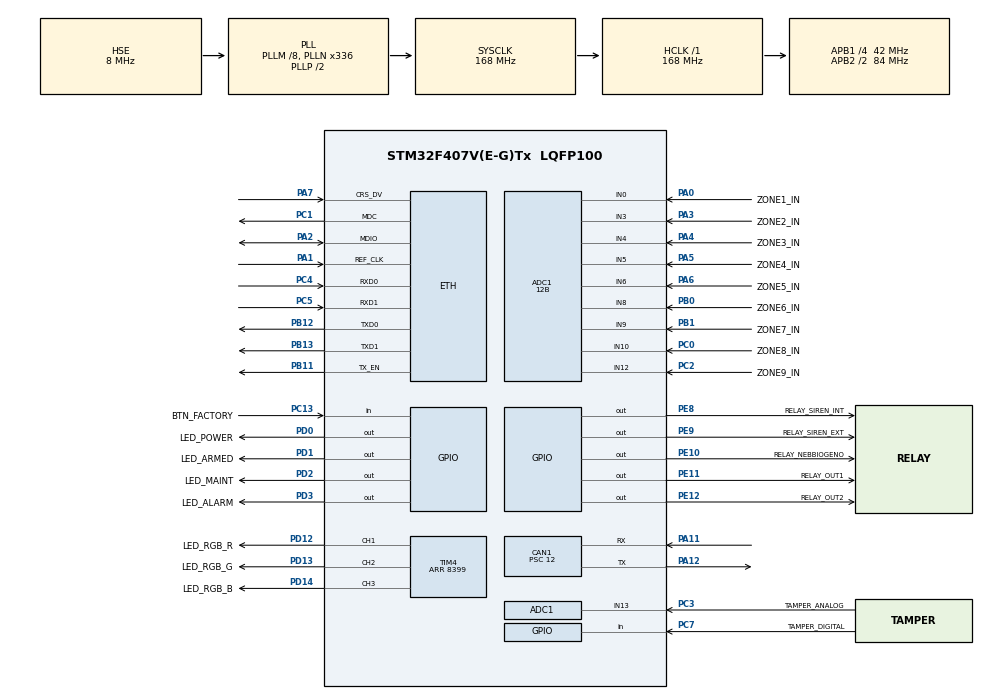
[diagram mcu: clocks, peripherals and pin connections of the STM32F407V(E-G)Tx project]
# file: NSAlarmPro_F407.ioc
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ADC1.Channel-10\#ChannelRegularConversion=ADC_CHANNEL_12
ADC1.Channel-11\#ChannelRegularConversion=ADC_CHANNEL_13
ADC1.Channel-12\#ChannelRegularConversion=ADC_CHANNEL_VBAT
ADC1.Channel-13\#ChannelRegularConversion=ADC_CHANNEL_TEMPSENSOR
ADC1.Channel-14\#ChannelRegularConversion=ADC_CHANNEL_VREFINT
ADC1.Channel-2\#ChannelRegularConversion=ADC_CHANNEL_0
ADC1.Channel-3\#ChannelRegularConversion=ADC_CHANNEL_3
ADC1.Channel-4\#ChannelRegularConversion=ADC_CHANNEL_4
ADC1.Channel-5\#ChannelRegularConversion=ADC_CHANNEL_5
ADC1.Channel-6\#ChannelRegularConversion=ADC_CHANNEL_6
ADC1.Channel-7\#ChannelRegularConversion=ADC_CHANNEL_8
ADC1.Channel-8\#ChannelRegularConversion=ADC_CHANNEL_9
ADC1.Channel-9\#ChannelRegularConversion=ADC_CHANNEL_10
ADC1.ClockPrescaler=ADC_CLOCK_SYNC_PCLK_DIV4
ADC1.ContinuousConvMode=ENABLE
ADC1.DMAContinuousRequests=ENABLE
ADC1.NbrOfConversion=13
ADC1.NbrOfConversionFlag=1
ADC1.Rank-10\#ChannelRegularConversion=9
ADC1.Rank-11\#ChannelRegularConversion=10
ADC1.Rank-12\#ChannelRegularConversion=11
ADC1.Rank-13\#ChannelRegularConversion=12
ADC1.Rank-14\#ChannelRegularConversion=13
ADC1.Rank-2\#ChannelRegularConversion=1
ADC1.Rank-3\#ChannelRegularConversion=2
ADC1.Rank-4\#ChannelRegularConversion=3
ADC1.Rank-5\#ChannelRegularConversion=4
ADC1.Rank-6\#ChannelRegularConversion=5
ADC1.Rank-7\#ChannelRegularConversion=6
ADC1.Rank-8\#ChannelRegularConversion=7
ADC1.Rank-9\#ChannelRegularConversion=8
ADC1.Resolution=ADC_RESOLUTION_12B
ADC1.SamplingTime-10\#ChannelRegularConversion=ADC_SAMPLETIME_144CYCLES
ADC1.SamplingTime-11\#ChannelRegularConversion=ADC_SAMPLETIME_144CYCLES
ADC1.SamplingTime-12\#ChannelRegularConversion=ADC_SAMPLETIME_480CYCLES
ADC1.SamplingTime-13\#ChannelRegularConversion=ADC_SAMPLETIME_480CYCLES
ADC1.SamplingTime-14\#ChannelRegularConversion=ADC_SAMPLETIME_480CYCLES
ADC1.SamplingTime-2\#ChannelRegularConversion=ADC_SAMPLETIME_144CYCLES
ADC1.SamplingTime-3\#ChannelRegularConversion=ADC_SAMPLETIME_144CYCLES
ADC1.SamplingTime-4\#ChannelRegularConversion=ADC_SAMPLETIME_144CYCLES
ADC1.SamplingTime-5\#ChannelRegularConversion=ADC_SAMPLETIME_144CYCLES
ADC1.SamplingTime-6\#ChannelRegularConversion=ADC_SAMPLETIME_144CYCLES
ADC1.SamplingTime-7\#ChannelRegularConversion=ADC_SAMPLETIME_144CYCLES
ADC1.SamplingTime-8\#ChannelRegularConversion=ADC_SAMPLETIME_144CYCLES
ADC1.SamplingTime-9\#ChannelRegularConversion=ADC_SAMPLETIME_144CYCLES
ADC1.ScanConvMode=ENABLE
ADC1.master=1
CAN1.BS1=CAN_BS1_11TQ
CAN1.BS2=CAN_BS2_2TQ
CAN1.CalculateBaudRate=250000
CAN1.CalculateTimeBit=4000
CAN1.CalculateTimeQuantum=285.7142857142857
CAN1.NART=ENABLE
CAN1.Prescaler=12
Dma.ADC1.0.Direction=DMA_PERIPH_TO_MEMORY
Dma.ADC1.0.FIFOMode=DMA_FIFOMODE_DISABLE
Dma.ADC1.0.Instance=DMA2_Stream0
Dma.ADC1.0.MemDataAlignment=DMA_MDATAALIGN_HALFWORD
Dma.ADC1.0.MemInc=DMA_MINC_ENABLE
Dma.ADC1.0.Mode=DMA_CIRCULAR
Dma.ADC1.0.PeriphDataAlignment=DMA_PDATAALIGN_HALFWORD
Dma.ADC1.0.PeriphInc=DMA_PINC_DISABLE
Dma.ADC1.0.Priority=DMA_PRIORITY_HIGH
Dma.Request0=ADC1
ETH.MediaInterface=HAL_ETH_RMII_MODE
FREERTOS.HEAP_NUMBER=4
FREERTOS.Tasks01=defaultTask,0,128,StartDefaultTask,Default,NULL,Dynamic,NULL,NULL
FREERTOS.configTOTAL_HEAP_SIZE=98304
FREERTOS.configUSE_NEWLIB_REENTRANT=1
IWDG.Prescaler=IWDG_PRESCALER_64
IWDG.Reload=1999
LWIP.BSP.number=1
LWIP.Version=v2.1.2_Cube
LWIP0.BSP.STBoard=false
LWIP0.BSP.api=BSP_COMPONENT_DRIVER
LWIP0.BSP.component=LAN8742
LWIP0.BSP.instance=LAN8742
LWIP0.BSP.name=Driver_PHY
LWIP0.BSP.semaphore=S_LAN8742
LWIP0.BSP.solution=LAN8742
MBEDTLS.MBEDTLS_RNG_IP=HW_RNG
Mcu.Family=STM32F4
Mcu.Name=STM32F407V(E-G)Tx
Mcu.Package=LQFP100
NVIC.CAN1_RX0_IRQn=true\:5\:0\:false\:false\:true\:true\:true\:true\:true
NVIC.DMA2_Stream0_IRQn=true\:5\:0\:false\:false\:true\:true\:false\:true\:true
NVIC.ETH_IRQn=true\:5\:0\:false\:false\:true\:true\:false\:true\:true
NVIC.PriorityGroup=NVIC_PRIORITYGROUP_4
NVIC.TIM6_DAC_IRQn=true\:15\:0\:false\:false\:true\:false\:false\:true\:true
NVIC.TimeBase=TIM6_DAC_IRQn
NVIC.TimeBaseIP=TIM6
PA0-WKUP.GPIO_Label=ZONE1_IN
PA0-WKUP.Signal=SharedAnalog_PA0
PA1.Mode=RMII
PA1.Signal=ETH_REF_CLK
PA11.Mode=CAN_Activate
PA11.Signal=CAN1_RX
PA12.Mode=CAN_Activate
PA12.Signal=CAN1_TX
PA2.Mode=RMII
PA2.Signal=ETH_MDIO
PA3.GPIO_Label=ZONE2_IN
PA3.Signal=SharedAnalog_PA3
PA4.GPIO_Label=ZONE3_IN
PA4.Signal=SharedAnalog_PA4
PA5.GPIO_Label=ZONE4_IN
PA5.Signal=SharedAnalog_PA5
PA6.GPIO_Label=ZONE5_IN
PA6.Signal=SharedAnalog_PA6
PA7.Mode=RMII
PA7.Signal=ETH_CRS_DV
PB0.GPIO_Label=ZONE6_IN
PB0.Signal=SharedAnalog_PB0
PB1.GPIO_Label=ZONE7_IN
PB1.Signal=SharedAnalog_PB1
PB11.Mode=RMII
PB11.Signal=ETH_TX_EN
PB12.Mode=RMII
PB12.Signal=ETH_TXD0
PB13.Mode=RMII
PB13.Signal=ETH_TXD1
PC0.GPIO_Label=ZONE8_IN
PC0.Signal=SharedAnalog_PC0
PC1.Mode=RMII
PC1.Signal=ETH_MDC
PC13-ANTI_TAMP.GPIO_Label=BTN_FACTORY
PC13-ANTI_TAMP.GPIO_PuPd=GPIO_PULLUP
PC13-ANTI_TAMP.Signal=GPIO_Input
PC2.GPIO_Label=ZONE9_IN
PC2.Signal=SharedAnalog_PC2
PC3.GPIO_Label=TAMPER_ANALOG
PC3.Signal=SharedAnalog_PC3
PC4.Mode=RMII
PC4.Signal=ETH_RXD0
PC5.Mode=RMII
PC5.Signal=ETH_RXD1
PC7.GPIO_Label=TAMPER_DIGITAL
PC7.GPIO_PuPd=GPIO_PULLUP
PC7.Signal=GPIO_Input
PD0.GPIO_Label=LED_POWER
PD0.Signal=GPIO_Output
PD1.GPIO_Label=LED_ARMED
PD1.Signal=GPIO_Output
PD12.GPIO_Label=LED_RGB_R
PD12.Signal=S_TIM4_CH1
PD13.GPIO_Label=LED_RGB_G
PD13.Signal=S_TIM4_CH2
PD14.GPIO_Label=LED_RGB_B
PD14.Signal=S_TIM4_CH3
PD2.GPIO_Label=LED_MAINT
PD2.Signal=GPIO_Output
PD3.GPIO_Label=LED_ALARM
PD3.Signal=GPIO_Output
PE10.GPIO_Label=RELAY_NEBBIOGENO
PE10.Signal=GPIO_Output
PE11.GPIO_Label=RELAY_OUT1
PE11.Signal=GPIO_Output
PE12.GPIO_Label=RELAY_OUT2
PE12.Signal=GPIO_Output
PE8.GPIO_Label=RELAY_SIREN_INT
PE8.Signal=GPIO_Output
PE9.GPIO_Label=RELAY_SIREN_EXT
PE9.Signal=GPIO_Output
PH0-OSC_IN.Mode=HSE-External-Oscillator
PH0-OSC_IN.Signal=RCC_OSC_IN
PH1-OSC_OUT.Mode=HSE-External-Oscillator
PH1-OSC_OUT.Signal=RCC_OSC_OUT
ProjectManager.HeapSize=0x200
ProjectManager.StackSize=0x400
ProjectManager.TargetToolchain=STM32CubeIDE
RCC.48MHZClocksFreq_Value=48000000
RCC.AHBFreq_Value=168000000
RCC.APB1CLKDivider=RCC_HCLK_DIV4
RCC.APB1Freq_Value=42000000
RCC.APB1TimFreq_Value=84000000
RCC.APB2CLKDivider=RCC_HCLK_DIV2
RCC.APB2Freq_Value=84000000
RCC.APB2TimFreq_Value=168000000
RCC.CortexFreq_Value=168000000
RCC.HCLKFreq_Value=168000000
RCC.HSE_VALUE=8000000
RCC.HSI_VALUE=16000000
RCC.LSE_VALUE=32768
RCC.PLLM=8
RCC.PLLN=336
RCC.PLLQ=7
RCC.PLLSourceVirtual=RCC_PLLSOURCE_HSE
RCC.SYSCLKFreq_VALUE=168000000
RCC.SYSCLKSource=RCC_SYSCLKSOURCE_PLLCLK
RCC.VCOOutputFreq_Value=336000000
SH.S_TIM4_CH1.0=TIM4_CH1,PWM Generation1 CH1
SH.S_TIM4_CH2.0=TIM4_CH2,PWM Generation2 CH2
SH.S_TIM4_CH3.0=TIM4_CH3,PWM Generation3 CH3
SH.SharedAnalog_PA0.0=GPIO_Analog
SH.SharedAnalog_PA0.1=ADC3_IN0
SH.SharedAnalog_PA0.2=ADC1_IN0,IN0
SH.SharedAnalog_PA3.0=GPIO_Analog
SH.SharedAnalog_PA3.1=ADC3_IN3
SH.SharedAnalog_PA3.2=ADC1_IN3,IN3
SH.SharedAnalog_PA4.0=GPIO_Analog
SH.SharedAnalog_PA4.1=ADC1_IN4,IN4
SH.SharedAnalog_PA5.0=GPIO_Analog
SH.SharedAnalog_PA5.1=ADC1_IN5,IN5
SH.SharedAnalog_PA6.0=GPIO_Analog
SH.SharedAnalog_PA6.1=ADC1_IN6,IN6
SH.SharedAnalog_PB0.0=GPIO_Analog
SH.SharedAnalog_PB0.1=ADC1_IN8,IN8
SH.SharedAnalog_PB1.0=GPIO_Analog
SH.SharedAnalog_PB1.1=ADC1_IN9,IN9
SH.SharedAnalog_PC0.0=GPIO_Analog
SH.SharedAnalog_PC0.1=ADC3_IN10
SH.SharedAnalog_PC0.2=ADC1_IN10,IN10
SH.SharedAnalog_PC2.0=GPIO_Analog
SH.SharedAnalog_PC2.1=ADC3_IN12
SH.SharedAnalog_PC2.2=ADC1_IN12,IN12
SH.SharedAnalog_PC3.0=GPIO_Analog
SH.SharedAnalog_PC3.1=ADC3_IN13
SH.SharedAnalog_PC3.2=ADC1_IN13,IN13
TIM4.Channel-PWM\ Generation1\ CH1=TIM_CHANNEL_1
TIM4.Channel-PWM\ Generation2\ CH2=TIM_CHANNEL_2
TIM4.Channel-PWM\ Generation3\ CH3=TIM_CHANNEL_3
TIM4.Period=8399
VP_ADC1_TempSens_Input.Mode=IN-TempSens
VP_ADC1_Vbat_Input.Mode=IN-Vbat
VP_ADC1_Vref_Input.Mode=IN-Vrefint
VP_FREERTOS_VS_CMSIS_V1.Mode=CMSIS_V1
VP_IWDG_VS_IWDG.Mode=IWDG_Activate
VP_LWIP_VS_Enabled.Mode=Enabled
VP_MBEDTLS_VS_MBEDTLS.Mode=Enabled
VP_RNG_VS_RNG.Mode=RNG_Activate
VP_SYS_VS_tim6.Mode=TIM6
board=custom

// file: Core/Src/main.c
/* USER CODE BEGIN Header */
/**
  * @file    main.c
  * @brief   Entry point for NSAlarmPro central unit.
  */
/* USER CODE END Header */
#include "main.h"
#include "cmsis_os.h"
#include "mbedtls.h"

ADC_HandleTypeDef hadc1;
DMA_HandleTypeDef hdma_adc1;

CAN_HandleTypeDef hcan1;

IWDG_HandleTypeDef hiwdg;

RNG_HandleTypeDef hrng;

TIM_HandleTypeDef htim4;

osThreadId defaultTaskHandle;
/* USER CODE BEGIN PV */
static void NSAP_PreOSInit(void);
static void NSAP_WatchdogInit(void);
IWDG_HandleTypeDef hiwdg;
void nsap_watchdog_kick(void);
/* USER CODE END PV */

void SystemClock_Config(void);
static void MX_GPIO_Init(void);
static void MX_DMA_Init(void);
static void MX_CAN1_Init(void);
static void MX_RNG_Init(void);
static void MX_ADC1_Init(void);
static void MX_IWDG_Init(void);
static void MX_TIM4_Init(void);
void StartDefaultTask(void const * argument);

int main(void)
{

  /* USER CODE BEGIN 1 */
  HAL_Init();
  SystemClock_Config();
  MX_GPIO_Init();
  MX_DMA_Init();
  MX_ADC1_Init();
  MX_CAN1_Init();
  MX_ETH_Init();
  MX_TIM4_Init();
  NSAP_WatchdogInit();
  NSAP_PreOSInit();
  MX_FREERTOS_Init();
  osKernelStart();
  while (1)
  {
  }
  /* USER CODE END 1 */

  /* MCU Configuration--------------------------------------------------------*/

  /* Reset of all peripherals, Initializes the Flash interface and the Systick. */
  HAL_Init();

  /* Configure the system clock */
  SystemClock_Config();

  /* Initialize all configured peripherals */
  MX_GPIO_Init();
  MX_DMA_Init();
  MX_CAN1_Init();
  MX_RNG_Init();
  MX_ADC1_Init();
  MX_IWDG_Init();
  MX_TIM4_Init();
  /* Call PreOsInit function */
  MX_MBEDTLS_Init();

  /* Create the thread(s) */
  /* definition and creation of defaultTask */
  osThreadDef(defaultTask, StartDefaultTask, osPriorityNormal, 0, 128);
  defaultTaskHandle = osThreadCreate(osThread(defaultTask), NULL);

  /* Start scheduler */
  osKernelStart();

  /* We should never get here as control is now taken by the scheduler */

  /* Infinite loop */
  while (1)
  {

  }
}

void SystemClock_Config(void)
{
  RCC_OscInitTypeDef RCC_OscInitStruct = {0};
  RCC_ClkInitTypeDef RCC_ClkInitStruct = {0};

  /** Configure the main internal regulator output voltage
  */
  __HAL_RCC_PWR_CLK_ENABLE();
  __HAL_PWR_VOLTAGESCALING_CONFIG(PWR_REGULATOR_VOLTAGE_SCALE1);

  /** Initializes the RCC Oscillators according to the specified parameters
  * in the RCC_OscInitTypeDef structure.
  */
  RCC_OscInitStruct.OscillatorType = RCC_OSCILLATORTYPE_LSI|RCC_OSCILLATORTYPE_HSE;
  RCC_OscInitStruct.HSEState = RCC_HSE_ON;
  RCC_OscInitStruct.LSIState = RCC_LSI_ON;
  RCC_OscInitStruct.PLL.PLLState = RCC_PLL_ON;
  RCC_OscInitStruct.PLL.PLLSource = RCC_PLLSOURCE_HSE;
  RCC_OscInitStruct.PLL.PLLM = 8;
  RCC_OscInitStruct.PLL.PLLN = 336;
  RCC_OscInitStruct.PLL.PLLP = RCC_PLLP_DIV2;
  RCC_OscInitStruct.PLL.PLLQ = 7;
  if (HAL_RCC_OscConfig(&RCC_OscInitStruct) != HAL_OK)
  {
    Error_Handler();
  }

  /** Initializes the CPU, AHB and APB buses clocks
  */
  RCC_ClkInitStruct.ClockType = RCC_CLOCKTYPE_HCLK|RCC_CLOCKTYPE_SYSCLK
                              |RCC_CLOCKTYPE_PCLK1|RCC_CLOCKTYPE_PCLK2;
  RCC_ClkInitStruct.SYSCLKSource = RCC_SYSCLKSOURCE_PLLCLK;
  RCC_ClkInitStruct.AHBCLKDivider = RCC_SYSCLK_DIV1;
  RCC_ClkInitStruct.APB1CLKDivider = RCC_HCLK_DIV4;
  RCC_ClkInitStruct.APB2CLKDivider = RCC_HCLK_DIV2;

  if (HAL_RCC_ClockConfig(&RCC_ClkInitStruct, FLASH_LATENCY_5) != HAL_OK)
  {
    Error_Handler();
  }
}

static void MX_ADC1_Init(void)
{

  ADC_ChannelConfTypeDef sConfig = {0};

  /** Configure the global features of the ADC (Clock, Resolution, Data Alignment and number of conversion)
  */
  hadc1.Instance = ADC1;
  hadc1.Init.ClockPrescaler = ADC_CLOCK_SYNC_PCLK_DIV4;
  hadc1.Init.Resolution = ADC_RESOLUTION_12B;
  hadc1.Init.ScanConvMode = ENABLE;
  hadc1.Init.ContinuousConvMode = ENABLE;
  hadc1.Init.DiscontinuousConvMode = DISABLE;
  hadc1.Init.ExternalTrigConvEdge = ADC_EXTERNALTRIGCONVEDGE_NONE;
  hadc1.Init.ExternalTrigConv = ADC_SOFTWARE_START;
  hadc1.Init.DataAlign = ADC_DATAALIGN_RIGHT;
  hadc1.Init.NbrOfConversion = 13;
  hadc1.Init.DMAContinuousRequests = ENABLE;
  hadc1.Init.EOCSelection = ADC_EOC_SINGLE_CONV;
  if (HAL_ADC_Init(&hadc1) != HAL_OK)
  {
    Error_Handler();
  }

  /** Configure for the selected ADC regular channel its corresponding rank in the sequencer and its sample time.
  */
  sConfig.Channel = ADC_CHANNEL_0;
  sConfig.Rank = 1;
  sConfig.SamplingTime = ADC_SAMPLETIME_144CYCLES;
  if (HAL_ADC_ConfigChannel(&hadc1, &sConfig) != HAL_OK)
  {
    Error_Handler();
  }

  /** Configure for the selected ADC regular channel its corresponding rank in the sequencer and its sample time.
  */
  sConfig.Channel = ADC_CHANNEL_3;
  sConfig.Rank = 2;
  if (HAL_ADC_ConfigChannel(&hadc1, &sConfig) != HAL_OK)
  {
    Error_Handler();
  }

  /** Configure for the selected ADC regular channel its corresponding rank in the sequencer and its sample time.
  */
  sConfig.Channel = ADC_CHANNEL_4;
  sConfig.Rank = 3;
  if (HAL_ADC_ConfigChannel(&hadc1, &sConfig) != HAL_OK)
  {
    Error_Handler();
  }

  /** Configure for the selected ADC regular channel its corresponding rank in the sequencer and its sample time.
  */
  sConfig.Channel = ADC_CHANNEL_5;
  sConfig.Rank = 4;
  if (HAL_ADC_ConfigChannel(&hadc1, &sConfig) != HAL_OK)
  {
    Error_Handler();
  }

  /** Configure for the selected ADC regular channel its corresponding rank in the sequencer and its sample time.
  */
  sConfig.Channel = ADC_CHANNEL_6;
  sConfig.Rank = 5;
  if (HAL_ADC_ConfigChannel(&hadc1, &sConfig) != HAL_OK)
  {
    Error_Handler();
  }

  /** Configure for the selected ADC regular channel its corresponding rank in the sequencer and its sample time.
  */
  sConfig.Channel = ADC_CHANNEL_8;
  sConfig.Rank = 6;
  if (HAL_ADC_ConfigChannel(&hadc1, &sConfig) != HAL_OK)
  {
    Error_Handler();
  }

  /** Configure for the selected ADC regular channel its corresponding rank in the sequencer and its sample time.
  */
  sConfig.Channel = ADC_CHANNEL_9;
  sConfig.Rank = 7;
  if (HAL_ADC_ConfigChannel(&hadc1, &sConfig) != HAL_OK)
  {
    Error_Handler();
  }

  /** Configure for the selected ADC regular channel its corresponding rank in the sequencer and its sample time.
  */
  sConfig.Channel = ADC_CHANNEL_10;
  sConfig.Rank = 8;
  if (HAL_ADC_ConfigChannel(&hadc1, &sConfig) != HAL_OK)
  {
    Error_Handler();
  }

  /** Configure for the selected ADC regular channel its corresponding rank in the sequencer and its sample time.
  */
  sConfig.Channel = ADC_CHANNEL_12;
  sConfig.Rank = 9;
  if (HAL_ADC_ConfigChannel(&hadc1, &sConfig) != HAL_OK)
  {
    Error_Handler();
  }

  /** Configure for the selected ADC regular channel its corresponding rank in the sequencer and its sample time.
  */
  sConfig.Channel = ADC_CHANNEL_13;
  sConfig.Rank = 10;
  if (HAL_ADC_ConfigChannel(&hadc1, &sConfig) != HAL_OK)
  {
    Error_Handler();
  }

  /** Configure for the selected ADC regular channel its corresponding rank in the sequencer and its sample time.
  */
  sConfig.Channel = ADC_CHANNEL_VBAT;
  sConfig.Rank = 11;
  sConfig.SamplingTime = ADC_SAMPLETIME_480CYCLES;
  if (HAL_ADC_ConfigChannel(&hadc1, &sConfig) != HAL_OK)
  {
    Error_Handler();
  }

  /** Configure for the selected ADC regular channel its corresponding rank in the sequencer and its sample time.
  */
  sConfig.Channel = ADC_CHANNEL_TEMPSENSOR;
  sConfig.Rank = 12;
  if (HAL_ADC_ConfigChannel(&hadc1, &sConfig) != HAL_OK)
  {
    Error_Handler();
  }

  /** Configure for the selected ADC regular channel its corresponding rank in the sequencer and its sample time.
  */
  sConfig.Channel = ADC_CHANNEL_VREFINT;
  sConfig.Rank = 13;
  if (HAL_ADC_ConfigChannel(&hadc1, &sConfig) != HAL_OK)
  {
    Error_Handler();
  }

}

static void MX_CAN1_Init(void)
{

  hcan1.Instance = CAN1;
  hcan1.Init.Prescaler = 12;
  hcan1.Init.Mode = CAN_MODE_NORMAL;
  hcan1.Init.SyncJumpWidth = CAN_SJW_1TQ;
  hcan1.Init.TimeSeg1 = CAN_BS1_11TQ;
  hcan1.Init.TimeSeg2 = CAN_BS2_2TQ;
  hcan1.Init.TimeTriggeredMode = DISABLE;
  hcan1.Init.AutoBusOff = DISABLE;
  hcan1.Init.AutoWakeUp = DISABLE;
  hcan1.Init.AutoRetransmission = ENABLE;
  hcan1.Init.ReceiveFifoLocked = DISABLE;
  hcan1.Init.TransmitFifoPriority = DISABLE;
  if (HAL_CAN_Init(&hcan1) != HAL_OK)
  {
    Error_Handler();
  }

}

static void MX_IWDG_Init(void)
{

  hiwdg.Instance = IWDG;
  hiwdg.Init.Prescaler = IWDG_PRESCALER_64;
  hiwdg.Init.Reload = 1999;
  if (HAL_IWDG_Init(&hiwdg) != HAL_OK)
  {
    Error_Handler();
  }

}

static void MX_RNG_Init(void)
{

  hrng.Instance = RNG;
  if (HAL_RNG_Init(&hrng) != HAL_OK)
  {
    Error_Handler();
  }

}

static void MX_TIM4_Init(void)
{

  TIM_MasterConfigTypeDef sMasterConfig = {0};
  TIM_OC_InitTypeDef sConfigOC = {0};

  htim4.Instance = TIM4;
  htim4.Init.Prescaler = 0;
  htim4.Init.CounterMode = TIM_COUNTERMODE_UP;
  htim4.Init.Period = 8399;
  htim4.Init.ClockDivision = TIM_CLOCKDIVISION_DIV1;
  htim4.Init.AutoReloadPreload = TIM_AUTORELOAD_PRELOAD_DISABLE;
  if (HAL_TIM_PWM_Init(&htim4) != HAL_OK)
  {
    Error_Handler();
  }
  sMasterConfig.MasterOutputTrigger = TIM_TRGO_RESET;
  sMasterConfig.MasterSlaveMode = TIM_MASTERSLAVEMODE_DISABLE;
  if (HAL_TIMEx_MasterConfigSynchronization(&htim4, &sMasterConfig) != HAL_OK)
  {
    Error_Handler();
  }
  sConfigOC.OCMode = TIM_OCMODE_PWM1;
  sConfigOC.Pulse = 0;
  sConfigOC.OCPolarity = TIM_OCPOLARITY_HIGH;
  sConfigOC.OCFastMode = TIM_OCFAST_DISABLE;
  if (HAL_TIM_PWM_ConfigChannel(&htim4, &sConfigOC, TIM_CHANNEL_1) != HAL_OK)
  {
    Error_Handler();
  }
  if (HAL_TIM_PWM_ConfigChannel(&htim4, &sConfigOC, TIM_CHANNEL_2) != HAL_OK)
  {
    Error_Handler();
  }
  if (HAL_TIM_PWM_ConfigChannel(&htim4, &sConfigOC, TIM_CHANNEL_3) != HAL_OK)
  {
    Error_Handler();
  }
  HAL_TIM_MspPostInit(&htim4);

}

static void MX_DMA_Init(void)
{

  /* DMA controller clock enable */
  __HAL_RCC_DMA2_CLK_ENABLE();

  /* DMA interrupt init */
  /* DMA2_Stream0_IRQn interrupt configuration */
  HAL_NVIC_SetPriority(DMA2_Stream0_IRQn, 5, 0);
  HAL_NVIC_EnableIRQ(DMA2_Stream0_IRQn);

}

static void MX_GPIO_Init(void)
{
  GPIO_InitTypeDef GPIO_InitStruct = {0};

  /* GPIO Ports Clock Enable */
  __HAL_RCC_GPIOC_CLK_ENABLE();
  __HAL_RCC_GPIOH_CLK_ENABLE();
  __HAL_RCC_GPIOA_CLK_ENABLE();
  __HAL_RCC_GPIOB_CLK_ENABLE();
  __HAL_RCC_GPIOE_CLK_ENABLE();
  __HAL_RCC_GPIOD_CLK_ENABLE();

  /*Configure GPIO pin Output Level */
  HAL_GPIO_WritePin(GPIOE, RELAY_SIREN_INT_Pin|RELAY_SIREN_EXT_Pin|RELAY_NEBBIOGENO_Pin|RELAY_OUT1_Pin
                          |RELAY_OUT2_Pin, GPIO_PIN_RESET);

  /*Configure GPIO pin Output Level */
  HAL_GPIO_WritePin(GPIOD, LED_POWER_Pin|LED_ARMED_Pin|LED_MAINT_Pin|LED_ALARM_Pin, GPIO_PIN_RESET);

  /*Configure GPIO pins : BTN_FACTORY_Pin TAMPER_DIGITAL_Pin */
  GPIO_InitStruct.Pin = BTN_FACTORY_Pin|TAMPER_DIGITAL_Pin;
  GPIO_InitStruct.Mode = GPIO_MODE_INPUT;
  GPIO_InitStruct.Pull = GPIO_PULLUP;
  HAL_GPIO_Init(GPIOC, &GPIO_InitStruct);

  /*Configure GPIO pins : ZONE8_IN_Pin ZONE9_IN_Pin TAMPER_ANALOG_Pin */
  GPIO_InitStruct.Pin = ZONE8_IN_Pin|ZONE9_IN_Pin|TAMPER_ANALOG_Pin;
  GPIO_InitStruct.Mode = GPIO_MODE_ANALOG;
  GPIO_InitStruct.Pull = GPIO_NOPULL;
  HAL_GPIO_Init(GPIOC, &GPIO_InitStruct);

  /*Configure GPIO pins : ZONE1_IN_Pin ZONE2_IN_Pin */
  GPIO_InitStruct.Pin = ZONE1_IN_Pin|ZONE2_IN_Pin;
  GPIO_InitStruct.Mode = GPIO_MODE_ANALOG;
  GPIO_InitStruct.Pull = GPIO_NOPULL;
  HAL_GPIO_Init(GPIOA, &GPIO_InitStruct);

  /*Configure GPIO pins : RELAY_SIREN_INT_Pin RELAY_SIREN_EXT_Pin RELAY_NEBBIOGENO_Pin RELAY_OUT1_Pin
                           RELAY_OUT2_Pin */
  GPIO_InitStruct.Pin = RELAY_SIREN_INT_Pin|RELAY_SIREN_EXT_Pin|RELAY_NEBBIOGENO_Pin|RELAY_OUT1_Pin
                          |RELAY_OUT2_Pin;
  GPIO_InitStruct.Mode = GPIO_MODE_OUTPUT_PP;
  GPIO_InitStruct.Pull = GPIO_NOPULL;
  GPIO_InitStruct.Speed = GPIO_SPEED_FREQ_LOW;
  HAL_GPIO_Init(GPIOE, &GPIO_InitStruct);

  /*Configure GPIO pins : LED_POWER_Pin LED_ARMED_Pin LED_MAINT_Pin LED_ALARM_Pin */
  GPIO_InitStruct.Pin = LED_POWER_Pin|LED_ARMED_Pin|LED_MAINT_Pin|LED_ALARM_Pin;
  GPIO_InitStruct.Mode = GPIO_MODE_OUTPUT_PP;
  GPIO_InitStruct.Pull = GPIO_NOPULL;
  GPIO_InitStruct.Speed = GPIO_SPEED_FREQ_LOW;
  HAL_GPIO_Init(GPIOD, &GPIO_InitStruct);

}

/* USER CODE BEGIN 4 */
void HAL_ADC_ConvHalfCpltCallback(ADC_HandleTypeDef *hadc)
{
  if (hadc->Instance == ADC1)
  {
    adc_frontend_on_dma_half_complete();
  }
}

void HAL_ADC_ConvCpltCallback(ADC_HandleTypeDef *hadc)
{
  if (hadc->Instance == ADC1)
  {
    adc_frontend_on_dma_complete();
  }
}

void HAL_ETH_RxCpltCallback(ETH_HandleTypeDef *heth)
{
  LWIP_Pkt_Handle();
}

void HAL_ETH_TxCpltCallback(ETH_HandleTypeDef *heth)
{
  LWIP_Pkt_Handle();
}

void HAL_CAN_RxFifo0MsgPendingCallback(CAN_HandleTypeDef *hcan)
{
  CAN_RxHeaderTypeDef rxHeader;
  uint8_t data[8];
  if (HAL_CAN_GetRxMessage(hcan, CAN_RX_FIFO0, &rxHeader, data) == HAL_OK)
  {
    can_bus_on_rx(rxHeader.StdId, data, rxHeader.DLC);
  }
}

void HAL_CAN_ErrorCallback(CAN_HandleTypeDef *hcan)
{
  if ((hcan->ErrorCode & HAL_CAN_ERROR_BOF) != 0U)
  {
    can_bus_handle_bus_off();
  }
}

static void NSAP_PreOSInit(void)
{
  adc_frontend_init();
  adc_frontend_start();
  net_lwip_init();
}

static void NSAP_WatchdogInit(void)
{
  hiwdg.Instance = IWDG;
  hiwdg.Init.Prescaler = IWDG_PRESCALER_64;
  hiwdg.Init.Reload = 1999;
  hiwdg.Init.Window = IWDG_WINDOW_DISABLE;
  if (HAL_IWDG_Init(&hiwdg) != HAL_OK)
  {
    Error_Handler();
  }
  HAL_IWDG_Refresh(&hiwdg);
}

void nsap_watchdog_kick(void)
{
  if (hiwdg.Instance == IWDG)
  {
    HAL_IWDG_Refresh(&hiwdg);
  }
}

void Error_Handler(void)
{
  __disable_irq();
  while (1)
  {
  }
}
/* USER CODE END 4 */

void StartDefaultTask(void const * argument)
{
  for(;;)
  {
    osDelay(1);
  }
}

void HAL_TIM_PeriodElapsedCallback(TIM_HandleTypeDef *htim)
{
  if (htim->Instance == TIM6)
  {
    HAL_IncTick();
  }
}

void Error_Handler(void)
{
  __disable_irq();
  while (1)
  {
  }
}
